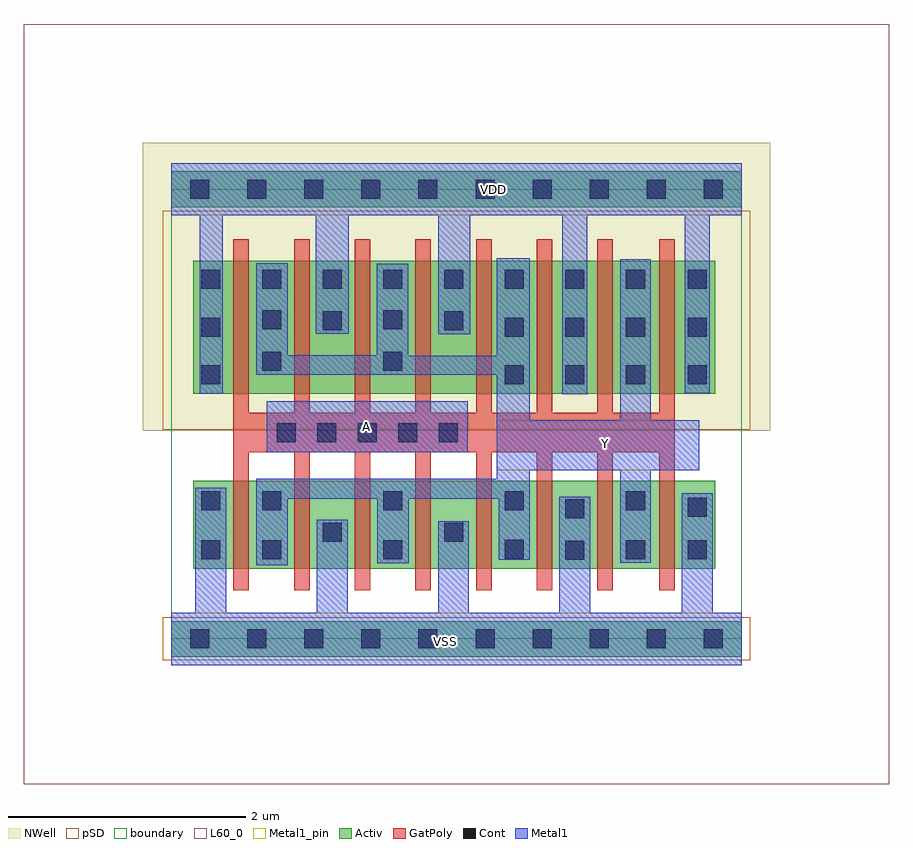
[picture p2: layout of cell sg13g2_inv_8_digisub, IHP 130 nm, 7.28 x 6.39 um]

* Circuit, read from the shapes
.subckt sg13g2_inv_8_digisub A VDD VSS Y
XM1 Y A VSS VSS sg13_lv_nmos w=0.74u l=0.13u m=8
XM2 Y A VDD VDD sg13_lv_pmos w=1.12u l=0.13u m=8
.ends

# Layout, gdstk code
import gdstk
lib = gdstk.Library(unit=1e-6, precision=1e-09)
def R(c, l, rs):  # rectangles x0, y0, x1, y1
    for r in rs: c.add(gdstk.rectangle(r[:2], r[2:], *l))
def A(c, l, x, y, w, h, nx, ny, dx, dy):  # array of equal rectangles
    R(c, l, [(x+i*dx, y+j*dy, x+i*dx+w, y+j*dy+h) for i in range(nx) for j in range(ny)])
def P(c, l, *ps):  # polygons
    for p in ps: c.add(gdstk.Polygon(p, *l))
Activ = (1, 0)
GatPoly = (5, 0)
Cont = (6, 0)
Metal1 = (8, 0)
Metal1_pin = (8, 2)
pSD = (14, 0)
NWell = (31, 0)
L60_0 = (60, 0)
boundary = (189, 4)

sg13g2_inv_8_digisub = lib.new_cell('sg13g2_inv_8_digisub')
R(sg13g2_inv_8_digisub, Activ, [(0,-0.15,4.8,0.15), (0.185,0.59,4.575,1.33), (0.185,2.06,4.575,3.18), (0,3.63,4.8,3.93)])
P(sg13g2_inv_8_digisub, GatPoly, [(4.235,3.36),(4.105,3.36),(4.105,1.9),(3.715,1.9),(3.715,3.36),(3.585,3.36),(3.585,1.9),(3.205,1.9),(3.205,3.36),(3.075,3.36),(3.075,1.9),(2.695,1.9),(2.695,3.36),(2.565,3.36),(2.565,1.9),(2.185,1.9),(2.185,3.36),(2.055,3.36),(2.055,1.9),(1.675,1.9),(1.675,3.36),(1.545,3.36),(1.545,1.9),(1.165,1.9),(1.165,3.36),(1.035,3.36),(1.035,1.9),(0.655,1.9),(0.655,3.36),(0.525,3.36),(0.525,0.41),(0.655,0.41),(0.655,1.57),(1.035,1.57),(1.035,0.41),(1.165,0.41),(1.165,1.57),(1.545,1.57),(1.545,0.41),(1.675,0.41),(1.675,1.57),(2.055,1.57),(2.055,0.41),(2.185,0.41),(2.185,1.57),(2.565,1.57),(2.565,0.41),(2.695,0.41),(2.695,1.57),(3.075,1.57),(3.075,0.41),(3.205,0.41),(3.205,1.57),(3.585,1.57),(3.585,0.41),(3.715,0.41),(3.715,1.57),(4.105,1.57),(4.105,0.41),(4.235,0.41)])
A(sg13g2_inv_8_digisub, Cont, 0.765, 1.08, 0.16, 0.16, 4, 1, 1.02, 0)
A(sg13g2_inv_8_digisub, Cont, 0.89, 1.655, 0.16, 0.16, 5, 1, 0.34, 0)
A(sg13g2_inv_8_digisub, Cont, 2.805, 2.14, 0.16, 0.16, 3, 2, 0.51, 0.4)
A(sg13g2_inv_8_digisub, Cont, 0.255, 2.945, 0.16, 0.16, 8, 1, 0.51, 0)
R(sg13g2_inv_8_digisub, Cont, [(0.16,-0.08,0.32,0.08), (0.16,-0.08,0.32,0.08), (0.64,-0.08,0.8,0.08), (0.64,-0.08,0.8,0.08), (1.12,-0.08,1.28,0.08), (1.12,-0.08,1.28,0.08), (1.6,-0.08,1.76,0.08), (1.6,-0.08,1.76,0.08), (2.08,-0.08,2.24,0.08), (2.08,-0.08,2.24,0.08), (2.56,-0.08,2.72,0.08), (2.56,-0.08,2.72,0.08), (3.04,-0.08,3.2,0.08), (3.04,-0.08,3.2,0.08), (3.52,-0.08,3.68,0.08), (3.52,-0.08,3.68,0.08), (4,-0.08,4.16,0.08), (4,-0.08,4.16,0.08), (4.48,-0.08,4.64,0.08), (4.48,-0.08,4.64,0.08), (3.315,0.665,3.475,0.825), (0.255,0.67,0.415,0.83), (0.765,0.67,0.925,0.83), (1.785,0.67,1.945,0.83), (3.825,0.67,3.985,0.83), (4.345,0.67,4.505,0.83), (2.805,0.675,2.965,0.835), (1.275,0.815,1.435,0.975), (2.295,0.815,2.455,0.975), (3.315,1.015,3.475,1.175), (4.345,1.025,4.505,1.185), (0.255,1.08,0.415,1.24), (0.255,2.14,0.415,2.3), (4.345,2.14,4.505,2.3), (0.765,2.255,0.925,2.415), (1.785,2.255,1.945,2.415), (0.255,2.54,0.415,2.7), (4.345,2.54,4.505,2.7), (1.275,2.595,1.435,2.755), (2.295,2.595,2.455,2.755), (0.765,2.605,0.925,2.765), (1.785,2.605,1.945,2.765), (4.345,2.945,4.505,3.105), (0.16,3.7,0.32,3.86), (0.16,3.7,0.32,3.86), (0.64,3.7,0.8,3.86), (0.64,3.7,0.8,3.86), (1.12,3.7,1.28,3.86), (1.12,3.7,1.28,3.86), (1.6,3.7,1.76,3.86), (1.6,3.7,1.76,3.86), (2.08,3.7,2.24,3.86), (2.08,3.7,2.24,3.86), (2.56,3.7,2.72,3.86), (2.56,3.7,2.72,3.86), (3.04,3.7,3.2,3.86), (3.04,3.7,3.2,3.86), (3.52,3.7,3.68,3.86), (3.52,3.7,3.68,3.86), (4,3.7,4.16,3.86), (4,3.7,4.16,3.86), (4.48,3.7,4.64,3.86), (4.48,3.7,4.64,3.86)])
R(sg13g2_inv_8_digisub, Metal1, [(0.805,1.57,2.495,2)])
P(sg13g2_inv_8_digisub, Metal1, [(1.73,2.385),(1.73,3.155),(1.995,3.155),(1.995,2.38),(2.74,2.38),(2.74,3.2),(3.015,3.2),(3.015,1.84),(3.775,1.84),(3.775,3.19),(4.035,3.19),(4.035,1.84),(4.44,1.84),(4.44,1.42),(4.035,1.42),(4.035,0.64),(3.775,0.64),(3.775,1.42),(3.015,1.42),(3.015,0.665),(2.755,0.665),(2.755,1.18),(2,1.18),(2,0.635),(1.735,0.635),(1.735,1.18),(0.98,1.18),(0.98,0.62),(0.715,0.62),(0.715,1.345),(2.74,1.345),(2.74,2.22),(0.715,2.22),(0.715,3.16),(0.98,3.16),(0.98,2.385)],
  [(0.205,0.22),(0.205,1.27),(0.465,1.27),(0.465,0.22),(1.225,0.22),(1.225,1),(1.485,1),(1.485,0.22),(2.245,0.22),(2.245,0.99),(2.505,0.99),(2.505,0.22),(3.265,0.22),(3.265,1.195),(3.525,1.195),(3.525,0.22),(4.295,0.22),(4.295,1.225),(4.555,1.225),(4.555,0.22),(4.8,0.22),(4.8,-0.22),(0,-0.22),(0,0.22)],
  [(0.24,2.06),(0.24,3.56),(0,3.56),(0,4),(4.8,4),(4.8,3.56),(4.53,3.56),(4.53,2.065),(4.32,2.065),(4.32,3.56),(3.5,3.56),(3.5,2.055),(3.29,2.055),(3.29,3.56),(2.515,3.56),(2.515,2.56),(2.245,2.56),(2.245,3.56),(1.495,3.56),(1.495,2.565),(1.215,2.565),(1.215,3.56),(0.435,3.56),(0.435,2.06)])
R(sg13g2_inv_8_digisub, Metal1_pin, [(0,-0.22,4.8,0.22), (2.74,1.42,4.44,1.84), (0.805,1.57,2.495,2), (0,3.56,4.8,4)])
R(sg13g2_inv_8_digisub, pSD, [(-0.07,-0.18,4.87,0.18), (-0.07,1.76,4.87,3.6)])
R(sg13g2_inv_8_digisub, NWell, [(-0.24,1.75,5.04,4.17)])
R(sg13g2_inv_8_digisub, L60_0, [(-1.24,-1.22,6.04,5.17)])
R(sg13g2_inv_8_digisub, boundary, [(0,0,4.8,3.78)])
sg13g2_inv_8_digisub.add(gdstk.Label('Y', (3.65,1.64), layer=8, texttype=25))
sg13g2_inv_8_digisub.add(gdstk.Label('A', (1.645,1.785), layer=8, texttype=25))
sg13g2_inv_8_digisub.add(gdstk.Label('VSS', (2.31,-0.02), layer=8, texttype=25))
sg13g2_inv_8_digisub.add(gdstk.Label('VDD', (2.71,3.78), layer=8, texttype=25))

lib.write_gds('sg13g2_inv_8_digisub.gds')
